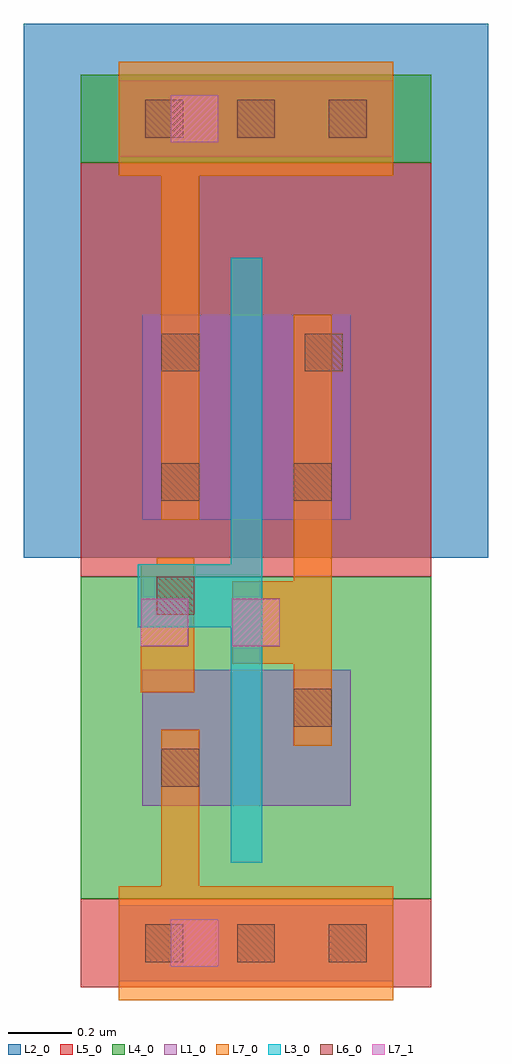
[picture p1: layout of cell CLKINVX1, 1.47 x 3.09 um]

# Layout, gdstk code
import gdstk
lib = gdstk.Library(unit=1e-6, precision=1e-09)
def R(c, l, rs):  # rectangles x0, y0, x1, y1
    for r in rs: c.add(gdstk.rectangle(r[:2], r[2:], *l))
def A(c, l, x, y, w, h, nx, ny, dx, dy):  # array of equal rectangles
    R(c, l, [(x+i*dx, y+j*dy, x+i*dx+w, y+j*dy+h) for i in range(nx) for j in range(ny)])
L1_0 = (1, 0)
L2_0 = (2, 0)
L3_0 = (3, 0)
L4_0 = (4, 0)
L5_0 = (5, 0)
L6_0 = (6, 0)
L7_0 = (7, 0)
L7_1 = (7, 1)

clkinvx1 = lib.new_cell('CLKINVX1')
R(clkinvx1, L1_0, [(-0.12,-0.23,0.75,0.01), (-0.045,0.325,0.615,0.755), (-0.045,1.23,0.615,1.88), (-0.12,2.38,0.75,2.62)])
R(clkinvx1, L2_0, [(-0.42,1.11,1.05,2.8)])
R(clkinvx1, L3_0, [(0.235,0.145,0.335,0.89), (-0.06,0.89,0.335,1.09), (0.235,1.09,0.335,2.06)])
R(clkinvx1, L4_0, [(-0.24,0.03,0.87,1.05), (-0.24,2.36,0.87,2.64)])
R(clkinvx1, L5_0, [(-0.24,-0.25,0.87,0.03), (-0.24,1.05,0.87,2.36)])
A(clkinvx1, L6_0, -0.035, -0.17, 0.12, 0.12, 3, 2, 0.29, 2.61)
R(clkinvx1, L6_0, [(0.015,0.385,0.135,0.505), (0.435,0.575,0.555,0.695), (0,0.93,0.12,1.05), (0.015,1.29,0.135,1.41), (0.435,1.29,0.555,1.41), (0.015,1.7,0.135,1.82), (0.47,1.7,0.59,1.82)])
R(clkinvx1, L7_0, [(-0.12,-0.29,0.75,0.07), (0.015,0.07,0.135,0.565), (0.435,0.515,0.555,0.775), (-0.05,0.685,0.12,1.09), (0.24,0.775,0.555,1.035), (0.435,1.035,0.555,1.88), (0,1.09,0.12,1.11), (0.015,1.23,0.135,2.32), (-0.12,2.32,0.75,2.68)])
R(clkinvx1, L7_1, [(0.045,-0.185,0.195,-0.035), (-0.05,0.83,0.1,0.98), (0.24,0.83,0.39,0.98), (0.045,2.425,0.195,2.575)])

lib.write_gds('CLKINVX1.gds')
